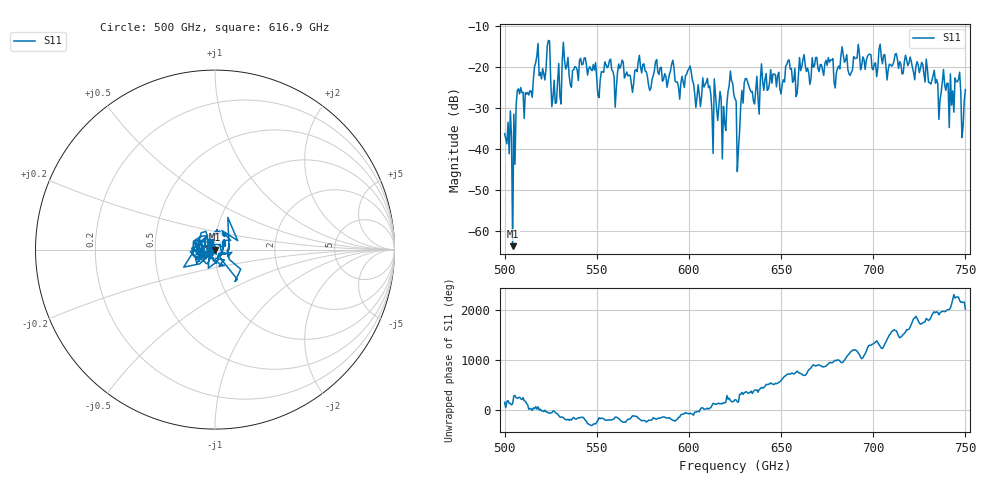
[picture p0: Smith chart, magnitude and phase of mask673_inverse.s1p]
!Created with skrf (http://scikit-rf.org).
# GHz S MA R 50.0
!freq magS11 angS11
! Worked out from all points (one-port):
!   401 points, 500 GHz to 750 GHz, reference 50 ohm
!   lowest |S11| = -63.8 dB at 504.4 GHz (marker M1), VSWR 1.00, Z = 50 + j0.048 ohm
!   |S11| at or under -10 dB: start of sweep to end of sweep
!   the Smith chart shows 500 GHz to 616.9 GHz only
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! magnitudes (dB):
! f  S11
! 500 GHz  -36.3
! 504.4 GHz  -63.8
! 507.5 GHz  -25.4
! 513.8 GHz  -25.8
! 516.9 GHz  -18.9
! 520.6 GHz  -20.4
! 523.8 GHz  -13.6
! 526.9 GHz  -23.3
! 531.2 GHz  -18.7
! 556.2 GHz  -19.9
! 560 GHz  -29.8
! 562.5 GHz  -20.4
! 578.8 GHz  -25.8
! 590.6 GHz  -19.4
! 593.8 GHz  -23.7
! 610 GHz  -22.8
! 619.4 GHz  -33.6
! 622.5 GHz  -21.0
! 625 GHz  -27.8
! 626.9 GHz  -40.0
! 631.2 GHz  -22.9
! 636.9 GHz  -22.3
! 656.2 GHz  -23.8
! 680 GHz  -21.4
! 684.4 GHz  -18.9
! 687.5 GHz  -22.1
! 718.8 GHz  -19.7
! 750 GHz  -25.6
